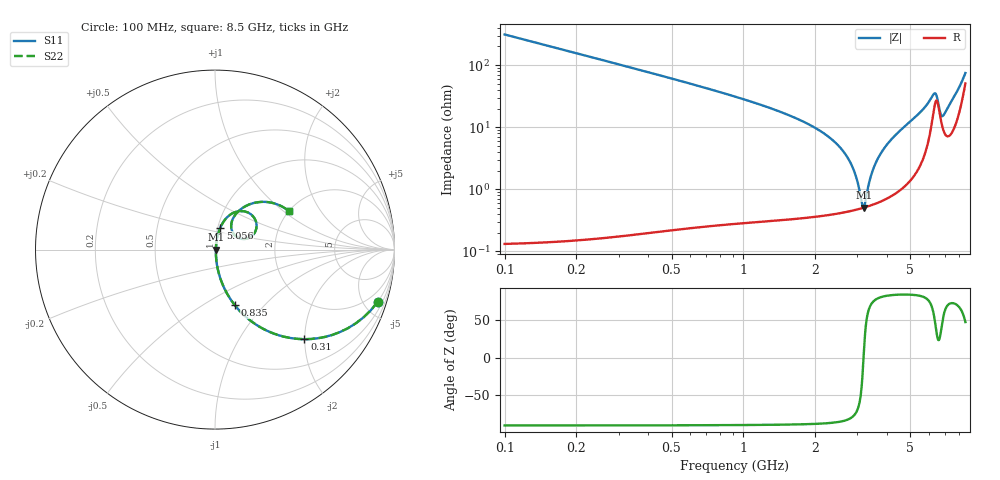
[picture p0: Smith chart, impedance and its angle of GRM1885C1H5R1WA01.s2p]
!Murata Part Number: GRM1885C1H5R1WA01
!These Parameters are Measured in Series Mode Connection
!Data Generated on Mar 30, 2021
!  o--ll--o
!Port1  Port2
!  o------o
!Operation Temp=25[degC], DC Bias Voltage=0[V]
!Freq. Start=100[MHz] Stop=9[GHz] 401[Steps]
# Hz S RI R 50
!Freq.(Hz) S11(Real) S11(Imag) S21(Real) S21(Imag) S12(Real) S12(Imag) S22(Real) S22(Imag)
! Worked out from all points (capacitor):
!   401 points, 100 MHz to 8.5 GHz, reference 50 ohm
!   read as one part in series: C = 5.1 pF near 142 MHz
!   lowest |Z| = 506 mohm at 3.187 GHz (marker M1)
!   series resonance near 3.184 GHz, so ESL is about 490 pH
!   S11 on the Smith chart (normalised r, x): 100 MHz: 1.00, -6.24; 310 MHz: 1.00, -1.99; 835 MHz: 1.01, -0.70; 5.056 GHz: 1.03, +0.26; 8.5 GHz: 2.01, +1.09
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1e8  0.9066 -0.2908  0.0934 0.2908  0.0934 0.2908  0.9066 -0.2908
3.1e8  0.4985 -0.4991  0.5015 0.4991  0.5015 0.4991  0.4985 -0.4991
5.2e8  0.2554 -0.4342  0.7446 0.4342  0.7446 0.4342  0.2554 -0.4342
8.35e8  0.1105 -0.3097  0.8895 0.3097  0.8895 0.3097  0.1105 -0.3097
1.507e9  0.0289 -0.158  0.9711 0.158  0.9711 0.158  0.0289 -0.158
2.431e9  0.00709 -0.0555  0.9929 0.0555  0.9929 0.0555  0.00709 -0.0555
2.704e9  0.00546 -0.0338  0.9945 0.0338  0.9945 0.0338  0.00546 -0.0338
2.914e9  0.00494 -0.0185  0.9951 0.0185  0.9951 0.0185  0.00494 -0.0185
3.145e9  0.00496 -0.0026  0.995 0.0026  0.995 0.0026  0.00496 -0.0026
3.187e9  0.00503 0.000206  0.995 -0.000206  0.995 -0.000206  0.00503 0.000206
3.397e9  0.00563 0.0139  0.9944 -0.0139  0.9944 -0.0139  0.00563 0.0139
3.586e9  0.00654 0.0259  0.9935 -0.0259  0.9935 -0.0259  0.00654 0.0259
3.88e9  0.00866 0.0443  0.9913 -0.0443  0.9913 -0.0443  0.00866 0.0443
4.3e9  0.0134 0.0706  0.9866 -0.0706  0.9866 -0.0706  0.0134 0.0706
5.056e9  0.0298 0.1224  0.9702 -0.1224  0.9702 -0.1224  0.0298 0.1224
5.707e9  0.0678 0.1802  0.9322 -0.1802  0.9322 -0.1802  0.0678 0.1802
6.295e9  0.2133 0.1836  0.7867 -0.1836  0.7867 -0.1836  0.2133 0.1836
6.526e9  0.1963 0.0691  0.8037 -0.0691  0.8037 -0.0691  0.1963 0.0691
6.736e9  0.1152 0.075  0.8848 -0.075  0.8848 -0.075  0.1152 0.075
7.114e9  0.093 0.1535  0.907 -0.1535  0.907 -0.1535  0.093 0.1535
7.996e9  0.2345 0.2634  0.7655 -0.2634  0.7655 -0.2634  0.2345 0.2634
8.5e9  0.4137 0.2129  0.5863 -0.2129  0.5863 -0.2129  0.4137 0.2129
